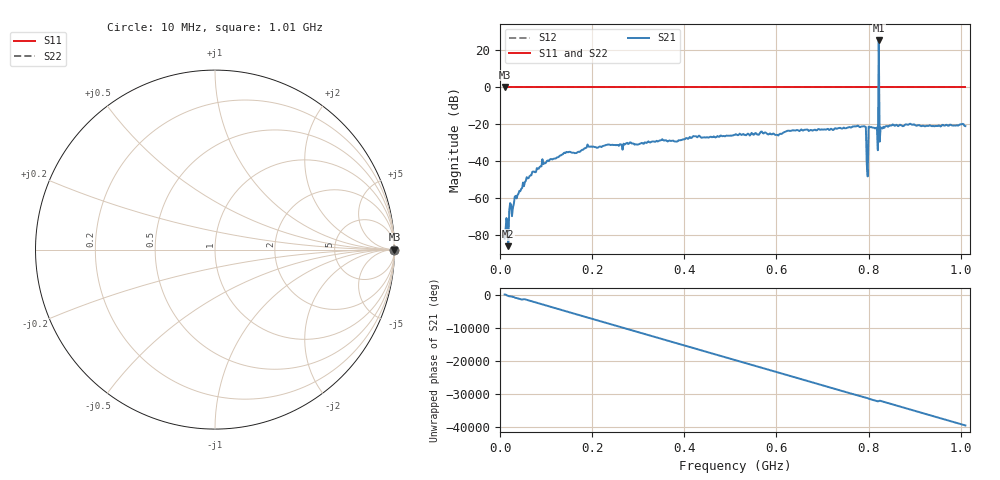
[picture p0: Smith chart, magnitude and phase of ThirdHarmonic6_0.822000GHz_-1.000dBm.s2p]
! 8/16/2025 3:19:47 AM
! C:\ANRITSUVNA\TEMP\TEMP.S2P
! CHANNEL.1
! TR.MEASUREMENT
! RAW.DATA
! RF.CORRECTION.OFF
! AVERAGING.OFF
! IF.BANDWIDTH: 5KHZ
! SWEEPTYPE:  FREQ.SWEEP(Linear)
! Reference Plane Port Info
! PORT:  PORT1  PORT2
! DISTANCE:  0  m  0  m
! TIME:  0  s  0  s
! PHASE.OFFSET:  0  deg.  0  deg.
! LOSS:  0  dB  0  dB
! REF.LOSS:  0  dB  0  dB
! REF.FREQ:  0  Hz  0  Hz
! Power Info
! POWER:  -20  dBm  -20  dBm
! EFF.POWER:  -20  dBm  -20  dBm
! SOURCE.ATTEN:  0  dB  0  dB
! TEST.ATTEN:  0  dB  0  dB
# GHZ S RI R 50.0
! FREQ.GHZ  S11RE  S11IM  S21RE  S21IM  S12RE  S12IM  S22RE  S22IM
!; PortSelection: Port_12
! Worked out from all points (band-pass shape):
!   501 points, 10 MHz to 1.01 GHz, reference 50 ohm
!   highest |S21| = 25.22 dB at 822 MHz (marker M1); lowest = -86.3 dB at 18 MHz (marker M2)
!   |S21| within 3 dB of the highest: 821.8992 MHz to 822.1093 MHz (210.1 kHz wide, 0.0256 % of centre)
!   lowest |S11| = 0.0 dB at 10 MHz (marker M3)
!   |S11| at or under -10 dB: nowhere
!   |S22| runs from 0.0 to 0.0 dB; largest |S21 - S12| = 18
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0.01  1 0  -7.75e-05 9e-06  1 0  1 0
0.014  1 0  0.00028 1.45e-05  1 0  1 0
0.018  1 0  -9.5e-06 4.75e-05  1 0  1 0
0.036  1 0  -0.000902 -0.000312  1 0  1 0
0.054  1 0  -0.00265 2.07e-05  1 0  1 0
0.09  1 0  -0.00635 0.00313  1 0  1 0
0.178  1 0  -0.0195 -0.00296  1 0  1 0
0.344  1 0  0.0306 -0.0146  1 0  1 0
0.51  1 0  -0.0379 0.0337  1 0  1 0
0.678  1 0  -0.0573 -0.032  1 0  1 0
0.79  1 0  0.0857 0.0106  1 0  1 0
0.794  1 0  -0.0743 -0.0338  1 0  1 0
0.798  1 0  -0.00256 0.00277  1 0  1 0
0.8  1 0  0.0664 -0.0521  1 0  1 0
0.804  1 0  -0.0779 0.0258  1 0  1 0
0.816  1 0  0.0589 0.0497  1 0  1 0
0.818  1 0  0.0573 -0.0552  1 0  1 0
0.822  1 0  13.16 -12.64  1 0  1 0
0.826  1 0  0.0793 0.00262  1 0  1 0
0.828  1 0  0.0113 -0.0776  1 0  1 0
0.844  1 0  0.0877 -0.000856  1 0  1 0
1.01  1 0  -0.0608 0.0623  1 0  1 0
